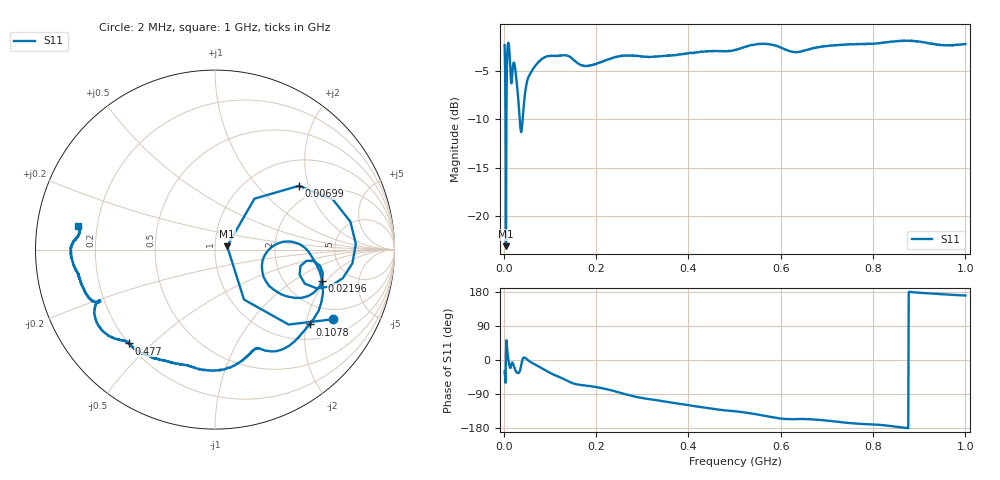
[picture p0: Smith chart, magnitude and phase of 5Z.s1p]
!Keysight Technologies N9923A: A.08.19
!Date: Thursday, 16 January 2020 11:30:00
!TimeZone: (GMT-03:00) Brasilia!Model: N9923A
!Serial: MY51491501
!GPS Latitude:
!GPS Longitude:
!GPS TimeStamp: 0001-01-01 00:00:00Z
!GPS Seconds Since Last Read: 0
!CHECKSUM:1078980270
!Correction: S11(ON U)
!S1P File: Measurement: S11:
# Hz S DB R 50
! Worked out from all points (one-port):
!   1001 points, 2 MHz to 1 GHz, reference 50 ohm
!   lowest |S11| = -23.1 dB at 4.994 MHz (marker M1), VSWR 1.15, Z = 57.2 + j2.2 ohm
!   |S11| at or under -10 dB: 4.007 MHz to 5.915 MHz (1.907 MHz wide, 38.4 % of centre); 34.68 MHz to 40.99 MHz (6.31 MHz wide, 16.7 % of centre)
!   S11 on the Smith chart (normalised r, x): 2 MHz: 1.56, -2.89; 6.99 MHz: 1.60, +1.73; 21.96 MHz: 3.18, -1.79; 107.8 MHz: 1.38, -2.10; 477 MHz: 0.20, -0.43; 1 GHz: 0.13, +0.08
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2000000  -2.35 -30.6
4994000  -23.06 15.8
6990000  -4.63 37.3
9984000  -2.10 2.4
1.0982e7  -2.28 -5.7
1.2978e7  -3.43 -17.8
1.5972e7  -6.17 -16.6
2.196e7  -4.14 -16.2
2.8946e7  -6.53 -33.3
3.3936e7  -9.50 -32.0
3.7928e7  -11.32 -12.6
4.691e7  -7.06 5.3
6.4874e7  -4.72 -9.9
8.5832e7  -3.69 -24.1
1.07788e8  -3.45 -38.4
1.2675e8  -3.40 -48.3
1.60682e8  -4.23 -64.8
2.515e8  -3.48 -86.2
2.94414e8  -3.48 -99.0
3.7625e8  -3.34 -114.8
4.77048e8  -2.99 -132.5
5.01e8  -2.86 -135.3
5.73854e8  -2.25 -149.2
6.2575e8  -3.04 -156.3
6.79642e8  -2.56 -157.4
7.505e8  -2.25 -166.5
8.7525e8  -1.90 -179.7
1e9  -2.24 170.2
